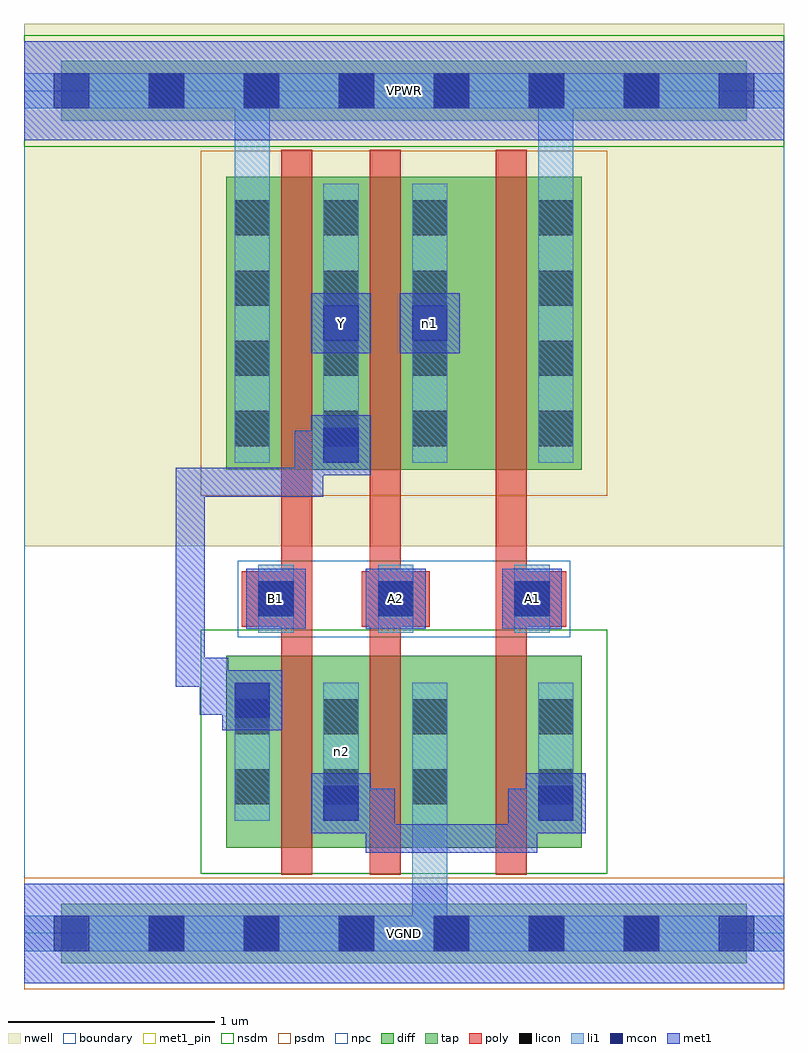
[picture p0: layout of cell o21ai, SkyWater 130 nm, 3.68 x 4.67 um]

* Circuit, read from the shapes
.subckt o21ai A1 A2 B1 VGND VPWR Y n1 n2
XM1 n2 B1 Y VGND sky130_fd_pr__nfet_01v8 w=0.93 l=0.15
XM2 VGND A2 n2 VGND sky130_fd_pr__nfet_01v8 w=0.93 l=0.15
XM3 n2 A1 VGND VGND sky130_fd_pr__nfet_01v8 w=0.93 l=0.15
XM4 Y B1 VPWR VPWR sky130_fd_pr__pfet_01v8 w=1.42 l=0.15
XM5 n1 A2 Y VPWR sky130_fd_pr__pfet_01v8 w=1.42 l=0.15
XM6 VPWR A1 n1 VPWR sky130_fd_pr__pfet_01v8 w=1.42 l=0.15
.ends

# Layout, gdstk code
import gdstk
lib = gdstk.Library(unit=1e-6, precision=1e-09)
def R(c, l, rs):  # rectangles x0, y0, x1, y1
    for r in rs: c.add(gdstk.rectangle(r[:2], r[2:], *l))
def A(c, l, x, y, w, h, nx, ny, dx, dy):  # array of equal rectangles
    R(c, l, [(x+i*dx, y+j*dy, x+i*dx+w, y+j*dy+h) for i in range(nx) for j in range(ny)])
nwell = (64, 20)
diff = (65, 20)
tap = (65, 44)
poly = (66, 20)
licon = (66, 44)
li1 = (67, 20)
mcon = (67, 44)
met1_pin = (68, 16)
met1 = (68, 20)
nsdm = (93, 44)
psdm = (94, 20)
npc = (95, 20)
boundary = (235, 4)

o21ai = lib.new_cell('o21ai')
R(o21ai, nwell, [(0,1.875,3.68,4.405)])
R(o21ai, diff, [(0.98,0.415,2.7,1.345), (0.98,2.245,2.7,3.665)])
R(o21ai, tap, [(0.18,-0.145,3.5,0.145), (0.18,3.935,3.5,4.225)])
R(o21ai, poly, [(1.245,0.285,1.395,3.795), (1.675,0.285,1.825,3.795), (2.285,0.285,2.435,3.795), (1.055,1.485,1.385,1.755), (1.635,1.485,1.965,1.755), (2.295,1.485,2.625,1.755)])
A(o21ai, licon, 0.605, -0.085, 0.17, 0.17, 6, 2, 0.46, 4.08)
A(o21ai, licon, 1.02, 0.625, 0.17, 0.17, 3, 2, 0.43, 0.34)
A(o21ai, licon, 1.02, 2.36, 0.17, 0.17, 3, 4, 0.43, 0.34)
A(o21ai, licon, 2.49, 2.36, 0.17, 0.17, 1, 4, 0, 0.34)
R(o21ai, licon, [(2.49,0.625,2.66,0.795), (2.49,0.965,2.66,1.135), (1.135,1.535,1.305,1.705), (1.715,1.535,1.885,1.705), (2.375,1.535,2.545,1.705)])
A(o21ai, li1, 1.02, 0.545, 0.17, 0.67, 3, 1, 0.43, 0)
A(o21ai, li1, 1.02, 2.28, 0.17, 1.35, 3, 1, 0.43, 0)
R(o21ai, li1, [(0,-0.085,3.68,0.085), (1.88,-0.085,2.05,1.215), (2.49,0.545,2.66,1.215), (1.135,1.455,1.305,1.785), (1.715,1.455,1.885,1.785), (2.375,1.455,2.545,1.785), (1.02,2.28,1.19,4.165), (2.49,2.28,2.66,3.63), (2.49,2.28,2.66,4.165), (0,3.995,3.68,4.165)])
A(o21ai, mcon, 0.145, -0.085, 0.17, 0.17, 8, 2, 0.46, 4.08)
R(o21ai, mcon, [(1.45,0.545,1.62,0.715), (2.49,0.545,2.66,0.715), (1.02,1.045,1.19,1.215), (1.135,1.535,1.305,1.705), (1.715,1.535,1.885,1.705), (2.375,1.535,2.545,1.705), (1.45,2.28,1.62,2.45), (1.45,2.87,1.62,3.04), (1.88,2.87,2.05,3.04)])
R(o21ai, met1_pin, [(0,-0.24,3.68,0.24), (1.075,1.475,1.365,1.765), (1.655,1.475,1.945,1.765), (2.315,1.475,2.605,1.765), (1.39,2.81,1.68,3.1), (0,3.84,3.68,4.32)])
R(o21ai, met1, [(0,-0.24,3.68,0.24), (1.655,0.39,1.795,0.7), (1.655,0.39,2.485,0.53), (2.345,0.39,2.485,0.7), (1.39,0.485,1.68,0.775), (2.43,0.485,2.72,0.775), (1.655,0.53,1.795,0.56), (1.655,0.53,1.795,0.56), (1.655,0.53,1.795,0.56), (1.655,0.53,1.795,0.56), (1.655,0.53,1.795,0.56), (1.655,0.53,1.795,0.56), (2.345,0.53,2.485,0.56), (2.345,0.53,2.485,0.56), (2.345,0.53,2.485,0.56), (2.345,0.53,2.485,0.56), (2.345,0.53,2.485,0.56), (2.345,0.53,2.485,0.56), (1.465,0.56,1.795,0.7), (2.345,0.56,2.645,0.7), (0.96,0.985,1.25,1.275), (0.85,1.06,1.175,1.2), (0.85,1.06,0.99,1.335), (0.735,1.195,0.875,2.255), (0.735,1.195,0.99,1.335), (0.875,1.195,0.96,1.275), (0.875,1.195,0.96,1.275), (0.875,1.195,0.96,1.275), (0.875,1.195,0.96,1.275), (0.875,1.195,0.96,1.275), (0.875,1.195,0.96,1.275), (1.075,1.475,1.365,1.765), (1.655,1.475,1.945,1.765), (2.315,1.475,2.605,1.765), (0.735,2.115,1.45,2.255), (1.31,2.115,1.45,2.435), (1.39,2.22,1.68,2.51), (1.31,2.255,1.45,2.295), (1.31,2.255,1.45,2.295), (1.31,2.255,1.45,2.295), (1.31,2.255,1.45,2.295), (1.31,2.255,1.45,2.295), (1.31,2.255,1.45,2.295), (1.31,2.295,1.605,2.435), (1.39,2.81,1.68,3.1), (1.82,2.81,2.11,3.1), (0,3.84,3.68,4.32)])
R(o21ai, nsdm, [(0.855,0.29,2.825,1.47), (0,3.81,3.68,4.35)])
R(o21ai, psdm, [(0,-0.27,3.68,0.27), (0.855,2.12,2.825,3.79)])
R(o21ai, npc, [(1.035,1.435,2.645,1.805)])
R(o21ai, boundary, [(0,0,3.68,4.08)])
o21ai.add(gdstk.Label('n2', (1.535,0.88), layer=67, texttype=5))
o21ai.add(gdstk.Label('n1', (1.965,2.955), layer=67, texttype=5))
o21ai.add(gdstk.Label('A1', (2.46,1.62), layer=68, texttype=5))
o21ai.add(gdstk.Label('A2', (1.8,1.62), layer=68, texttype=5))
o21ai.add(gdstk.Label('B1', (1.22,1.62), layer=68, texttype=5))
o21ai.add(gdstk.Label('Y', (1.535,2.955), layer=68, texttype=5))
o21ai.add(gdstk.Label('VPWR', (1.84,4.08), layer=68, texttype=5))
o21ai.add(gdstk.Label('VGND', (1.84,0), layer=68, texttype=5))
o21ai.add(gdstk.Label('A1', (2.46,1.62), layer=68, texttype=16))
o21ai.add(gdstk.Label('A2', (1.8,1.62), layer=68, texttype=16))
o21ai.add(gdstk.Label('B1', (1.22,1.62), layer=68, texttype=16))
o21ai.add(gdstk.Label('Y', (1.535,2.955), layer=68, texttype=16))
o21ai.add(gdstk.Label('VPWR', (1.84,4.08), layer=68, texttype=16))
o21ai.add(gdstk.Label('VGND', (1.84,0), layer=68, texttype=16))

lib.write_gds('o21ai.gds')
